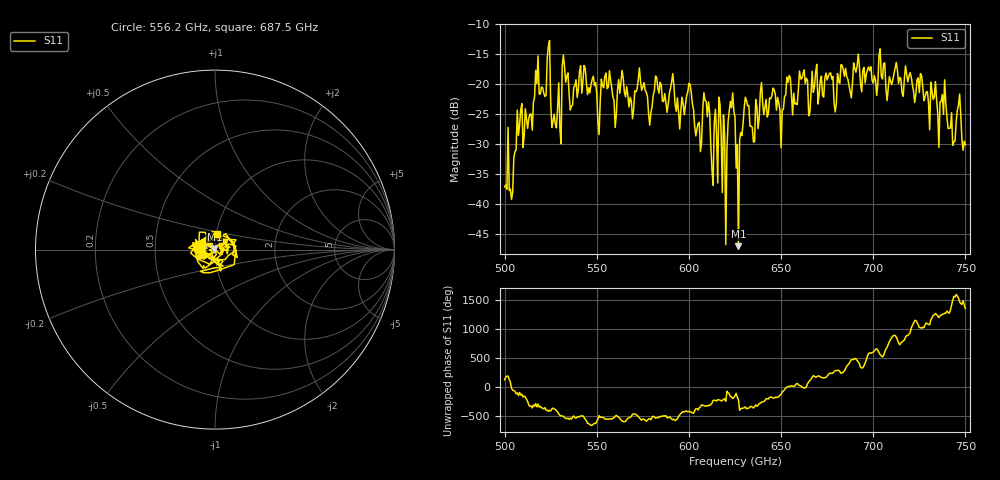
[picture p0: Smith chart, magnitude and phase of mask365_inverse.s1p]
!Created with skrf (http://scikit-rf.org).
# GHz S MA R 50.0
!freq magS11 angS11
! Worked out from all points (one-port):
!   401 points, 500 GHz to 750 GHz, reference 50 ohm
!   lowest |S11| = -47.1 dB at 626.9 GHz (marker M1), VSWR 1.01, Z = 49.7 + j0.299 ohm
!   |S11| at or under -10 dB: start of sweep to end of sweep
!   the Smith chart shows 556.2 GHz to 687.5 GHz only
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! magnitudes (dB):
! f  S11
! 500 GHz  -37.2
! 516.9 GHz  -17.7
! 523.8 GHz  -13.7
! 526.9 GHz  -25.0
! 531.2 GHz  -17.0
! 562.5 GHz  -21.5
! 578.8 GHz  -26.9
! 590.6 GHz  -19.6
! 593.8 GHz  -22.3
! 600 GHz  -19.9
! 605.6 GHz  -26.4
! 609.4 GHz  -22.9
! 612.5 GHz  -34.3
! 617.5 GHz  -28.6
! 619.4 GHz  -28.5
! 622.5 GHz  -22.9
! 625 GHz  -25.5
! 626.9 GHz  -47.1
! 631.2 GHz  -22.8
! 634.4 GHz  -27.2
! 640 GHz  -23.1
! 656.2 GHz  -25.1
! 687.5 GHz  -21.2
! 718.8 GHz  -19.6
! 738.1 GHz  -25.0
! 743.1 GHz  -30.2
! 746.2 GHz  -23.5
! 750 GHz  -30.1
